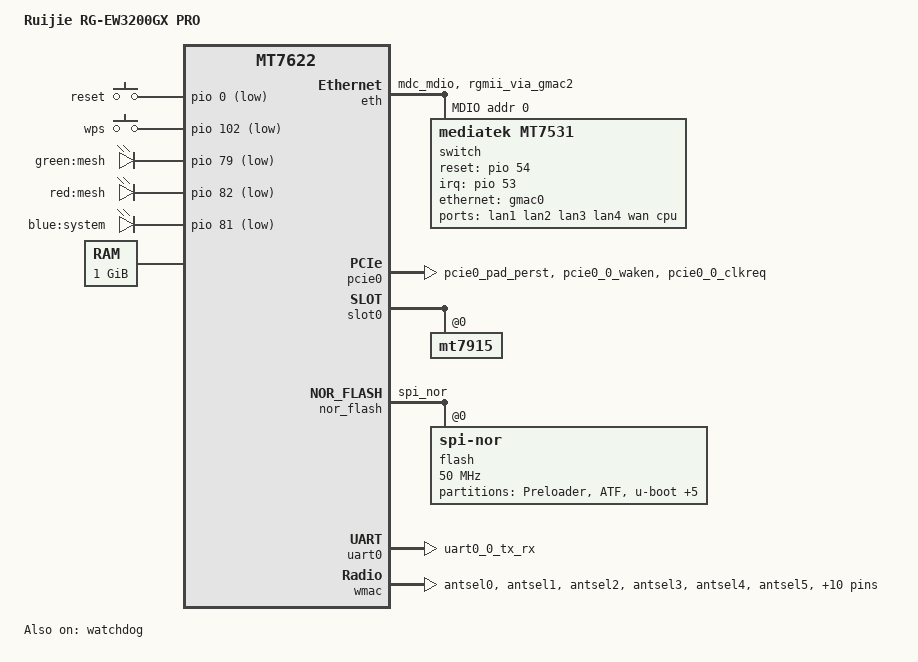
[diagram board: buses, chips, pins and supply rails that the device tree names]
// SPDX-License-Identifier: GPL-2.0-or-later OR MIT

/dts-v1/;
#include <dt-bindings/input/input.h>
#include <dt-bindings/gpio/gpio.h>

#include "mt7622.dtsi"
#include "mt6380.dtsi"

/ {
	model = "Ruijie RG-EW3200GX PRO";
	compatible = "ruijie,rg-ew3200gx-pro", "mediatek,mt7622";

	aliases {
		ethernet0 = &gmac0;
		label-mac-device = &gmac0;
		led-boot = &led_system;
		led-failsafe = &led_system;
		led-running = &led_system;
		led-upgrade = &led_system;
		serial0 = &uart0;
	};

	chosen {
		stdout-path = "serial0:115200n1";
		bootargs = "console=ttyS0,115200n1 swiotlb=512";
	};

	cpus {
		cpu@0 {
			proc-supply = <&mt6380_vcpu_reg>;
			sram-supply = <&mt6380_vm_reg>;
		};

		cpu@1 {
			proc-supply = <&mt6380_vcpu_reg>;
			sram-supply = <&mt6380_vm_reg>;
		};
	};

	gpio-keys {
		compatible = "gpio-keys";

		reset {
			label = "reset";
			linux,code = <KEY_RESTART>;
			gpios = <&pio 0 GPIO_ACTIVE_LOW>;
		};

		wps {
			label = "wps";
			linux,code = <KEY_WPS_BUTTON>;
			gpios = <&pio 102 GPIO_ACTIVE_LOW>;
		};
	};

	gpio-leds {
		compatible = "gpio-leds";

		mesh_green {
			label = "green:mesh";
			gpios = <&pio 79 GPIO_ACTIVE_LOW>;
		};

		mesh_red {
			label = "red:mesh";
			gpios = <&pio 82 GPIO_ACTIVE_LOW>;
		};

		led_system: system_blue {
			label = "blue:system";
			gpios = <&pio 81 GPIO_ACTIVE_LOW>;
			default-state = "on";
		};
	};

	memory {
		reg = <0 0x40000000 0 0x40000000>;
	};
};

&eth {
	status = "okay";

	pinctrl-names = "default";
	pinctrl-0 = <&eth_pins>;

	gmac0: mac@0 {
		compatible = "mediatek,eth-mac";
		reg = <0>;
		phy-connection-type = "2500base-x";
		fixed-link {
			speed = <2500>;
			full-duplex;
			pause;
		};
	};

	mdio: mdio-bus {
		#address-cells = <1>;
		#size-cells = <0>;

		switch@0 {
			compatible = "mediatek,mt7531";
			reg = <0>;
			reset-gpios = <&pio 54 GPIO_ACTIVE_HIGH>;
			
			interrupt-controller;
			#interrupt-cells = <2>;
			interrupt-parent = <&pio>;
			interrupts = <53 IRQ_TYPE_LEVEL_HIGH>;

			ports {
				#address-cells = <1>;
				#size-cells = <0>;

				port@0 {
					reg = <0>;
					label = "lan1";
				};

				port@1 {
					reg = <1>;
					label = "lan2";
				};

				port@2 {
					reg = <2>;
					label = "lan3";
				};

				port@3 {
					reg = <3>;
					label = "lan4";
				};

				wan: port@4 {
					reg = <4>;
					label = "wan";
				};

				port@6 {
					reg = <6>;
					label = "cpu";
					ethernet = <&gmac0>;
					phy-mode = "2500base-x";

					fixed-link {
						speed = <2500>;
						full-duplex;
						pause;
					};
				};
			};
		};
	};
};

&pcie0 {
	status = "okay";

	pinctrl-names = "default";
	pinctrl-0 = <&pcie0_pins>;
};

&slot0 {
	mt7915@0,0 {
		reg = <0x0000 0 0 0 0>;
		mediatek,mtd-eeprom = <&factory 0x5000>;
		ieee80211-freq-limit = <5000000 6000000>;
	};
};

&pio {
	epa_elna_pins: epa-elna-pins {
		mux {
			function = "antsel";
			groups = "antsel0", "antsel1", "antsel2", "antsel3",
				"antsel4", "antsel5", "antsel6", "antsel7",
				"antsel8", "antsel9", "antsel12", "antsel13",
				"antsel14", "antsel15", "antsel16", "antsel17";
		};
	};

	eth_pins: eth-pins {
		mux {
			function = "eth";
			groups = "mdc_mdio", "rgmii_via_gmac2";
		};
	};

	pcie0_pins: pcie0-pins {
		mux {
			function = "pcie";
			groups = "pcie0_pad_perst",
				 "pcie0_0_waken",
				 "pcie0_0_clkreq";
		};
	};

	pmic_bus_pins: pmic-bus-pins {
		mux {
			function = "pmic";
			groups = "pmic_bus";
		};
	};

	spi_nor_pins: spi-nor-pins {
		mux {
			function = "flash";
			groups = "spi_nor";
		};
	};

	uart0_pins: uart0-pins {
		mux {
			function = "uart";
			groups = "uart0_0_tx_rx";
		};
	};

	watchdog_pins: watchdog-pins {
		mux {
			function = "watchdog";
			groups = "watchdog";
		};
	};
};

&pwrap {
	status = "okay";

	pinctrl-names = "default";
	pinctrl-0 = <&pmic_bus_pins>;
};

&nor_flash {
	status = "okay";

	pinctrl-names = "default";
	pinctrl-0 = <&spi_nor_pins>;

	flash@0 {
		compatible = "jedec,spi-nor";
		reg = <0>;
		spi-max-frequency = <50000000>;

		partitions {
			compatible = "fixed-partitions";
			#address-cells = <1>;
			#size-cells = <1>;

			partition@0 {
				label = "Preloader";
				reg = <0x0 0x40000>;
				read-only;
			};

			partition@40000 {
				label = "ATF";
				reg = <0x40000 0x20000>;
				read-only;
			};

			partition@60000 {
				label = "u-boot";
				reg = <0x60000 0x50000>;
				read-only;
			};

			partition@B0000 {
				label = "u-boot-env";
				reg = <0xb0000 0x20000>;
			};

			factory: partition@D0000 {
				label = "Factory";
				reg = <0xd0000 0x80000>;
				read-only;
			};

			partition@150000 {
				label = "product_info";
				reg = <0x150000 0x10000>;
				read-only;
			};

			partition@160000 {
				label = "kdump";
				reg = <0x160000 0x10000>;
				read-only;
			};

			partition@170000 {
				compatible = "denx,fit";
				label = "firmware";
				reg = <0x170000 0xe90000>;
			};
		};
	};
};

&rtc {
	status = "disabled";
};

&uart0 {
	status = "okay";

	pinctrl-names = "default";
	pinctrl-0 = <&uart0_pins>;
};

&watchdog {
	status = "okay";

	pinctrl-names = "default";
	pinctrl-0 = <&watchdog_pins>;
};

&wmac {
	status = "okay";

	pinctrl-names = "default";
	pinctrl-0 = <&epa_elna_pins>;
	mediatek,mtd-eeprom = <&factory 0x0>;
};
